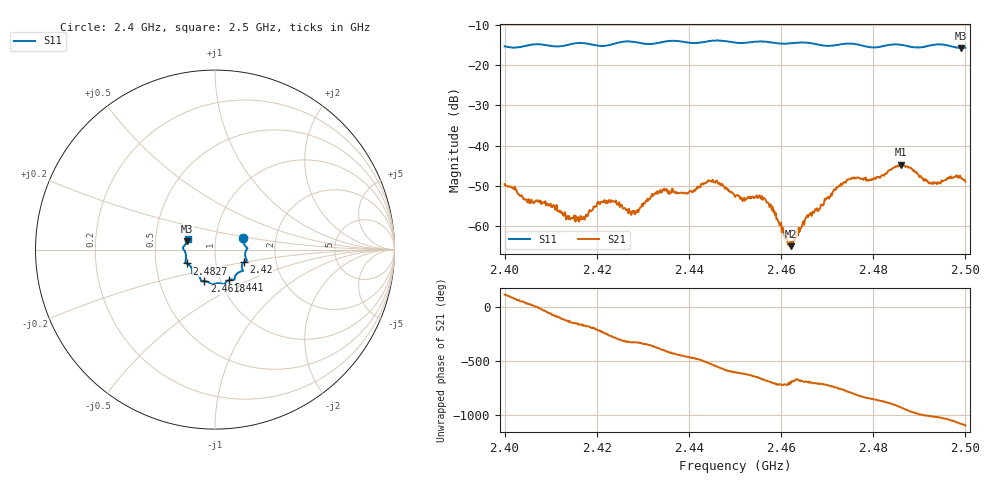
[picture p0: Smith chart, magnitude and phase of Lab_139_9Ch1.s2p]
# Hz S RI R
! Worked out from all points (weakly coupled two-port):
!   601 points, 2.4 GHz to 2.5 GHz, reference 50 ohm
!   highest |S21| = -44.69 dB at 2.486 GHz (marker M1); lowest = -64.9 dB at 2.4622 GHz (marker M2)
!   lowest |S11| = -15.8 dB at 2.499 GHz (marker M3), VSWR 1.39, Z = 36.4 + j3.47 ohm
!   |S11| at or under -10 dB: start of sweep to end of sweep
!   S12 and S22 are empty: the file has one direction only
!   S11 on the Smith chart (normalised r, x): 2.4 GHz: 1.36, +0.18; 2.42 GHz: 1.36, -0.20; 2.441 GHz: 1.10, -0.39; 2.4618 GHz: 0.84, -0.30; 2.4827 GHz: 0.72, -0.12; 2.5 GHz: 0.73, +0.09
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2.4e9  0.1585 0.0629  -0.00143 0.00302  0 0  0 0
2.4045e9  0.1717 0.0165  0.00165 0.00139  0 0  0 0
2.416667e9  0.1772 -0.061  -0.00118 -0.000314  0 0  0 0
2.42e9  0.1596 -0.0703  -0.00152 0.000958  0 0  0 0
2.423667e9  0.1502 -0.1039  0.000401 0.00202  0 0  0 0
2.4285e9  0.1496 -0.1204  0.00128 0.000737  0 0  0 0
2.433333e9  0.1114 -0.1509  0.00237 -0.000976  0 0  0 0
2.441e9  0.0786 -0.1698  -0.00107 -0.00258  0 0  0 0
2.444833e9  0.0526 -0.1923  -0.00365 -0.00048  0 0  0 0
2.45e9  0.0285 -0.1874  -0.0009 0.00213  0 0  0 0
2.456667e9  -0.0188 -0.1939  0.00173 0.00121  0 0  0 0
2.458333e9  -0.0276 -0.1874  0.00146 0.000408  0 0  0 0
2.461833e9  -0.0593 -0.1753  0.000578 -5.8e-06  0 0  0 0
2.462167e9  -0.0621 -0.1753  0.000553 0.000135  0 0  0 0
2.466667e9  -0.0787 -0.1683  0.00128 0.000418  0 0  0 0
2.474833e9  -0.1272 -0.1339  0.0012 -0.00366  0 0  0 0
2.482667e9  -0.156 -0.0773  -0.00433 -0.00131  0 0  0 0
2.483333e9  -0.1603 -0.0751  -0.00485 -0.000647  0 0  0 0
2.486e9  -0.1652 -0.0668  -0.00486 0.00321  0 0  0 0
2.492333e9  -0.1748 0.000329  0.00131 0.00324  0 0  0 0
2.499e9  -0.1556 0.0464  0.00403 -0.000315  0 0  0 0
2.5e9  -0.1523 0.0608  0.00336 -0.00126  0 0  0 0
